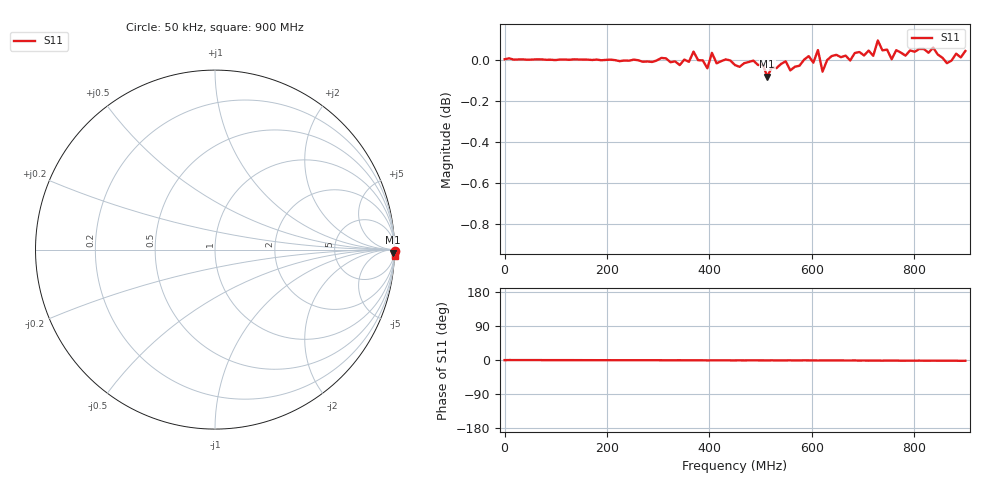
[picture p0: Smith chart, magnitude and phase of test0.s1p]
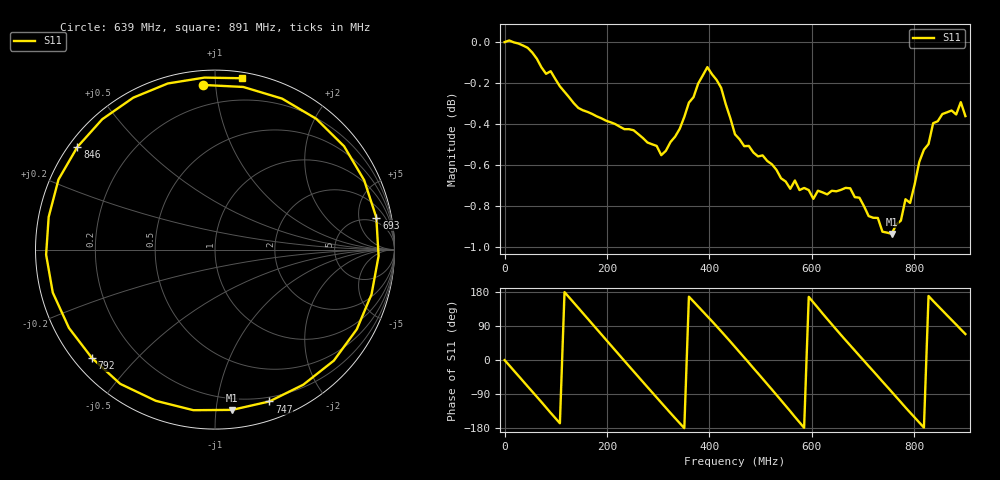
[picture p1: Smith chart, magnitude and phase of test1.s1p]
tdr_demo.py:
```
import skrf as rf
import matplotlib.pyplot as plt
from scipy import constants
import numpy as np

raw_points = 101
NFFT = 16384
PROPAGATION_SPEED = 70.3 #For RG405

_prop_speed = PROPAGATION_SPEED/100
cables = list()
cables.append(rf.Network('test0.s1p'))
cables.append(rf.Network('test1.s1p'))
cables.append(rf.Network('test2.s1p'))

for cable in cables:
  s11 = cable.s[:, 0, 0]
  window = np.blackman(raw_points)
  s11 = window * s11
  td = np.abs(np.fft.ifft(s11, NFFT))

  #Calculate maximum time axis
  t_axis = np.linspace(0, 1/cable.frequency.step, NFFT)
  d_axis = constants.speed_of_light * _prop_speed * t_axis

  #find the peak and distance
  pk = np.max(td)
  idx_pk = np.where(td == pk)[0]
  print(d_axis[idx_pk[0]]/2)

  # Plot time response
  plt.subplot(211)
  plt.plot(s11)
  plt.xlabel('Sample')
  plt.ylabel('Magnitude')
  plt.title('Return Signal')
  plt.subplot(212)
  plt.plot(d_axis, td)
  plt.xlim([0, 2])
  plt.xlabel("Distance (m)")
  plt.ylabel("Magnitude")
  plt.title("Return loss Time domain")
  plt.legend(['test0 - no cable', 'test1 - 14"', 'test2 - 7"'])

plt.tight_layout()
plt.show()
```
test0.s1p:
# HZ S RI R 50
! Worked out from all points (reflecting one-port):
!   101 points, 50 kHz to 900 MHz, reference 50 ohm
!   lowest |S11| = -0.1 dB at 513 MHz (marker M1), VSWR 210.84, Z = 2.28e+03 - j4.34e+03 ohm
!   phase of S11 starts at -0 deg and turns -2 deg over the sweep
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50000  1 -0.00508
3.06033e8  1.001 -0.0113
3.690295e8  1.004 -0.0131
3.96028e8  0.995 -0.0179
4.050275e8  1.004 -0.0159
5.130215e8  0.9904 -0.0179
6.030165e8  0.9981 -0.0172
6.12016e8  1.005 -0.0235
6.210155e8  0.9931 -0.0191
6.390145e8  1.002 -0.0213
7.2001e8  1.002 -0.0255
7.290095e8  1.01 -0.0283
7.56008e8  0.9998 -0.0267
9e8  1.004 -0.0352
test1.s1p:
# HZ S RI R 50
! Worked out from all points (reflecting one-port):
!   101 points, 50 kHz to 900 MHz, reference 50 ohm
!   lowest |S11| = -0.9 dB at 756 MHz (marker M1), VSWR 18.62, Z = 5.98 - j55.2 ohm
!   phase of S11 starts at -0 deg and turns -1371 deg over the sweep
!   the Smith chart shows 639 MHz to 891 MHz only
!   S11 on the Smith chart (normalised r, x): 639 MHz: 0.08, +0.93; 693 MHz: 3.80, +8.47; 747 MHz: 0.16, -1.41; 792 MHz: 0.05, -0.38; 846 MHz: 0.02, +0.33; 891 MHz: 0.04, +1.17
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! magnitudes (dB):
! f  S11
! 50 kHz  0.0
! 306 MHz  -0.6
! 396 MHz  -0.1
! 468 MHz  -0.5
! 603 MHz  -0.8
! 639 MHz  -0.7
! 693 MHz  -0.8
! 747 MHz  -0.9
! 756 MHz  -0.9
! 792 MHz  -0.8
! 810 MHz  -0.6
! 846 MHz  -0.4
! 891 MHz  -0.3
! 900 MHz  -0.4
